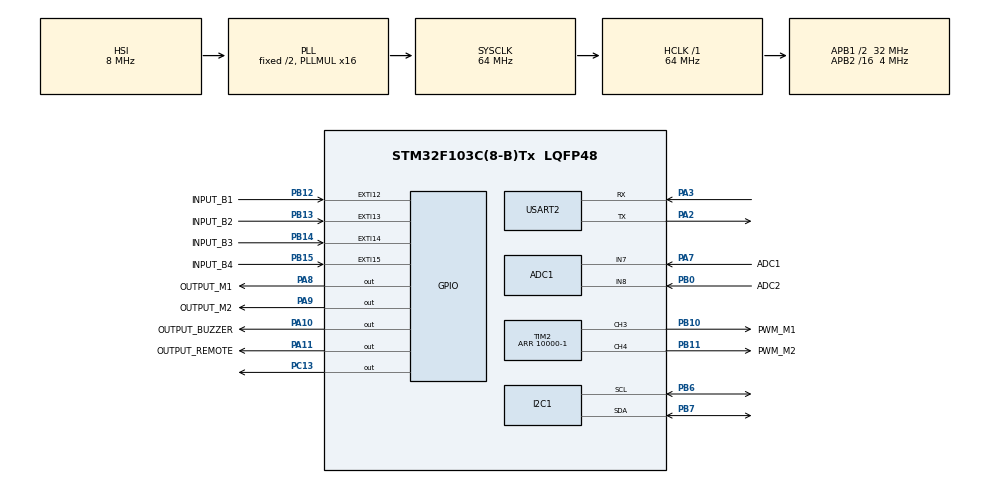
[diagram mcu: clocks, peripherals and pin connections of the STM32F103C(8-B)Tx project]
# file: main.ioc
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ADC1.Channel-0\#ChannelRegularConversion=ADC_CHANNEL_8
ADC1.Channel-1\#ChannelRegularConversion=ADC_CHANNEL_7
ADC1.ContinuousConvMode=ENABLE
ADC1.DataAlign=ADC_DATAALIGN_RIGHT
ADC1.ExternalTrigConv=ADC_SOFTWARE_START
ADC1.NbrOfConversion=2
ADC1.NbrOfConversionFlag=1
ADC1.Rank-0\#ChannelRegularConversion=1
ADC1.Rank-1\#ChannelRegularConversion=2
ADC1.SamplingTime-0\#ChannelRegularConversion=ADC_SAMPLETIME_1CYCLE_5
ADC1.SamplingTime-1\#ChannelRegularConversion=ADC_SAMPLETIME_1CYCLE_5
ADC1.master=1
Dma.ADC1.0.Direction=DMA_PERIPH_TO_MEMORY
Dma.ADC1.0.Instance=DMA1_Channel1
Dma.ADC1.0.MemDataAlignment=DMA_MDATAALIGN_WORD
Dma.ADC1.0.MemInc=DMA_MINC_ENABLE
Dma.ADC1.0.Mode=DMA_CIRCULAR
Dma.ADC1.0.PeriphDataAlignment=DMA_PDATAALIGN_WORD
Dma.ADC1.0.PeriphInc=DMA_PINC_DISABLE
Dma.ADC1.0.Priority=DMA_PRIORITY_LOW
Dma.Request0=ADC1
I2C1.I2C_Mode=I2C_Standard
Mcu.Family=STM32F1
Mcu.Name=STM32F103C(8-B)Tx
Mcu.Package=LQFP48
NVIC.DMA1_Channel1_IRQn=true\:0\:0\:false\:false\:true\:false\:true
NVIC.EXTI15_10_IRQn=true\:0\:0\:false\:false\:true\:true\:true
NVIC.PriorityGroup=NVIC_PRIORITYGROUP_4
NVIC.USART2_IRQn=true\:0\:0\:false\:false\:true\:true\:true
PA10.GPIO_Label=OUTPUT_BUZZER
PA10.Signal=GPIO_Output
PA11.GPIO_Label=OUTPUT_REMOTE
PA11.Signal=GPIO_Output
PA13.Mode=Serial_Wire
PA13.Signal=SYS_JTMS-SWDIO
PA14.Mode=Serial_Wire
PA14.Signal=SYS_JTCK-SWCLK
PA2.Mode=Asynchronous
PA2.Signal=USART2_TX
PA3.Mode=Asynchronous
PA3.Signal=USART2_RX
PA7.GPIO_Label=ADC1
PA7.Signal=ADCx_IN7
PA8.GPIO_Label=OUTPUT_M1
PA8.GPIO_ModeDefaultOutputPP=GPIO_MODE_OUTPUT_PP
PA8.Signal=GPIO_Output
PA9.GPIO_Label=OUTPUT_M2
PA9.GPIO_ModeDefaultOutputPP=GPIO_MODE_OUTPUT_PP
PA9.Signal=GPIO_Output
PB0.GPIO_Label=ADC2
PB0.Signal=ADCx_IN8
PB10.GPIO_Label=PWM_M1
PB10.Signal=S_TIM2_CH3
PB11.GPIO_Label=PWM_M2
PB11.Signal=S_TIM2_CH4
PB12.GPIO_Label=INPUT_B1
PB12.GPIO_ModeDefaultEXTI=GPIO_MODE_IT_RISING
PB12.GPIO_PuPd=GPIO_PULLDOWN
PB12.Signal=GPXTI12
PB13.GPIO_Label=INPUT_B2
PB13.GPIO_ModeDefaultEXTI=GPIO_MODE_IT_RISING
PB13.GPIO_PuPd=GPIO_PULLDOWN
PB13.Signal=GPXTI13
PB14.GPIO_Label=INPUT_B3
PB14.GPIO_ModeDefaultEXTI=GPIO_MODE_IT_RISING
PB14.GPIO_PuPd=GPIO_PULLDOWN
PB14.Signal=GPXTI14
PB15.GPIO_Label=INPUT_B4
PB15.GPIO_ModeDefaultEXTI=GPIO_MODE_IT_RISING
PB15.GPIO_PuPd=GPIO_PULLDOWN
PB15.Signal=GPXTI15
PB6.Mode=I2C
PB6.Signal=I2C1_SCL
PB7.Mode=I2C
PB7.Signal=I2C1_SDA
PC13-TAMPER-RTC.Signal=GPIO_Output
ProjectManager.HeapSize=0x200
ProjectManager.StackSize=0x400
ProjectManager.TargetToolchain=STM32CubeIDE
RCC.ADCPresc=RCC_ADCPCLK2_DIV8
RCC.AHBFreq_Value=64000000
RCC.APB1CLKDivider=RCC_HCLK_DIV2
RCC.APB1Freq_Value=32000000
RCC.APB1TimFreq_Value=64000000
RCC.APB2CLKDivider=RCC_HCLK_DIV16
RCC.APB2Freq_Value=4000000
RCC.APB2TimFreq_Value=8000000
RCC.HCLKFreq_Value=64000000
RCC.PLLMUL=RCC_PLL_MUL16
RCC.SYSCLKFreq_VALUE=64000000
RCC.SYSCLKSource=RCC_SYSCLKSOURCE_PLLCLK
RCC.USBFreq_Value=64000000
RTC.OutPut=RTC_OUTPUTSOURCE_CALIBCLOCK
SH.ADCx_IN7.0=ADC1_IN7,IN7
SH.ADCx_IN8.0=ADC1_IN8,IN8
SH.S_TIM2_CH3.0=TIM2_CH3,PWM Generation3 CH3
SH.S_TIM2_CH4.0=TIM2_CH4,PWM Generation4 CH4
TIM2.Channel-PWM\ Generation3\ CH3=TIM_CHANNEL_3
TIM2.Channel-PWM\ Generation4\ CH4=TIM_CHANNEL_4
TIM2.Period=10000-1
USART2.VirtualMode=VM_ASYNC
VP_RTC_VS_RTC_Activate.Mode=RTC_Enabled
VP_RTC_VS_RTC_Calendar.Mode=RTC_Calendar
board=main

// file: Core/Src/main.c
/**
 ******************************************************************************
 * File Name          : main.c
 * Description        : Main program body
 ******************************************************************************
 ** This notice applies to any and all portions of this file
 * that are not between comment pairs USER CODE BEGIN and
 * USER CODE END. Other portions of this file, whether
 * inserted by the user or by software development tools
 * are owned by their respective copyright owners.
 *
 * COPYRIGHT(c) 2020 STMicroelectronics
 *
 * Redistribution and use in source and binary forms, with or without modification,
 * are permitted provided that the following conditions are met:
 *   1. Redistributions of source code must retain the above copyright notice,
 *      this list of conditions and the following disclaimer.
 *   2. Redistributions in binary form must reproduce the above copyright notice,
 *      this list of conditions and the following disclaimer in the documentation
 *      and/or other materials provided with the distribution.
 *   3. Neither the name of STMicroelectronics nor the names of its contributors
 *      may be used to endorse or promote products derived from this software
 *      without specific prior written permission.
 *
 * THIS SOFTWARE IS PROVIDED BY THE COPYRIGHT HOLDERS AND CONTRIBUTORS "AS IS"
 * AND ANY EXPRESS OR IMPLIED WARRANTIES, INCLUDING, BUT NOT LIMITED TO, THE
 * IMPLIED WARRANTIES OF MERCHANTABILITY AND FITNESS FOR A PARTICULAR PURPOSE ARE
 * DISCLAIMED. IN NO EVENT SHALL THE COPYRIGHT HOLDER OR CONTRIBUTORS BE LIABLE
 * FOR ANY DIRECT, INDIRECT, INCIDENTAL, SPECIAL, EXEMPLARY, OR CONSEQUENTIAL
 * DAMAGES (INCLUDING, BUT NOT LIMITED TO, PROCUREMENT OF SUBSTITUTE GOODS OR
 * SERVICES; LOSS OF USE, DATA, OR PROFITS; OR BUSINESS INTERRUPTION) HOWEVER
 * CAUSED AND ON ANY THEORY OF LIABILITY, WHETHER IN CONTRACT, STRICT LIABILITY,
 * OR TORT (INCLUDING NEGLIGENCE OR OTHERWISE) ARISING IN ANY WAY OUT OF THE USE
 * OF THIS SOFTWARE, EVEN IF ADVISED OF THE POSSIBILITY OF SUCH DAMAGE.
 *
 ******************************************************************************
 */

#include "main.h"
#include "stm32f1xx_hal.h"
#include "adc.h"
#include "dma.h"
#include "i2c.h"
#include "rtc.h"
#include "tim.h"
#include "usart.h"
#include "gpio.h"

/* USER CODE BEGIN Includes */
#include "./ssd1306/ssd1306.h"
#include "stdio.h"
#include <string.h>
#include <stdio.h>

#include "./ssd1306/ssd1306_tests.h"

#include "./FLASH_PAGE/FLASH_PAGE.h"
/* USER CODE END Includes */

/* USER CODE BEGIN PV */
/* Private variables ---------------------------------------------------------*/

uint32_t runtime = 6000;
uint32_t sensitivity = 50;

//uint32_t timecount=0;
uint32_t stage = 0;
uint32_t last_stage = 0;
uint32_t start = 0;
uint32_t end = 0;

int settingMode = 0;
int pressTimer = 0;
int nowPosition = 0;
int stayPositionUp = 0;
int stayPositionDown = 20;
int slowValue = 5;
int sensitivityValue = 50;

int i;
uint32_t ADC_Value[100];
int maxLoadCount = 0;
uint32_t ad1, ad2;
uint32_t real_adc1, real_adc2;
uint32_t keep_adc1, keep_adc2;
uint32_t maxLoad = 0;
uint32_t PWM1 = 0, PWM2 = 0;
uint32_t OUTPUT_1_State = 0, OUTPUT_2_State = 0;
uint32_t sysinfo_State = 0, button_State = 0;
uint32_t dir_flag = 0;
uint32_t setDir_flag = 0;

int button_flag[5] = { 0 };

char buff[64];

int i2c_working = 1;

uint32_t *data = (uint32_t*) "Hello World";
uint32_t Rx_Data[4];
char string[30];
char tempString[30];
/* USER CODE END PV */

void SystemClock_Config(void);

/* USER CODE BEGIN PFP */
/* Private function prototypes -----------------------------------------------*/

/* USER CODE END PFP */

/* USER CODE BEGIN 0 */
void motor_stop(int dir) {
	if (dir >= 1) {
		OUTPUT_1_State = 1;
		OUTPUT_2_State = 1;
		PWM1 = 0;
		PWM2 = 0;
		HAL_GPIO_WritePin(OUTPUT_M1_GPIO_Port, OUTPUT_M1_Pin, 1);
		HAL_GPIO_WritePin(OUTPUT_M2_GPIO_Port, OUTPUT_M2_Pin, 1);
		user_pwm_setvalue_1(0);
		user_pwm_setvalue_2(0);

	} else if (dir <= -1) {
		OUTPUT_1_State = 0;
		OUTPUT_2_State = 0;
		PWM1 = 4000;
		PWM2 = 4000;
		HAL_GPIO_WritePin(OUTPUT_M1_GPIO_Port, OUTPUT_M1_Pin, 0);
		HAL_GPIO_WritePin(OUTPUT_M2_GPIO_Port, OUTPUT_M2_Pin, 0);
		user_pwm_setvalue_1(4000);
		user_pwm_setvalue_2(4000);
	}
	HAL_Delay(100);
	motor_control(0, 0);
}
void motor_control(int dir, int pwm) {
	if (setDir_flag >= 1) {
		if (dir >= 1) {
			OUTPUT_1_State = 1;
			OUTPUT_2_State = 0;
			HAL_GPIO_WritePin(OUTPUT_M1_GPIO_Port, OUTPUT_M1_Pin, 1);
			HAL_GPIO_WritePin(OUTPUT_M2_GPIO_Port, OUTPUT_M2_Pin, 0);
			PWM1 = pwm;
			PWM2 = 0;
			user_pwm_setvalue_1(pwm);
			user_pwm_setvalue_2(0);

		} else if (dir <= -1) {
			OUTPUT_1_State = 0;
			OUTPUT_2_State = 1;
			HAL_GPIO_WritePin(OUTPUT_M1_GPIO_Port, OUTPUT_M1_Pin, 0);
			HAL_GPIO_WritePin(OUTPUT_M2_GPIO_Port, OUTPUT_M2_Pin, 1);
			PWM1 = 0;
			PWM2 = pwm;
			user_pwm_setvalue_1(0);
			user_pwm_setvalue_2(pwm);
		} else if (dir == 0) {
			OUTPUT_1_State = 0;
			OUTPUT_2_State = 0;
			PWM1 = 0;
			PWM2 = 0;
			HAL_GPIO_WritePin(OUTPUT_M1_GPIO_Port, OUTPUT_M1_Pin, 0);
			HAL_GPIO_WritePin(OUTPUT_M2_GPIO_Port, OUTPUT_M2_Pin, 0);
			user_pwm_setvalue_1(0);
			user_pwm_setvalue_2(0);
		}
	} else {
		if (dir <= -1) {
			OUTPUT_1_State = 1;
			OUTPUT_2_State = 0;
			HAL_GPIO_WritePin(OUTPUT_M1_GPIO_Port, OUTPUT_M1_Pin, 1);
			HAL_GPIO_WritePin(OUTPUT_M2_GPIO_Port, OUTPUT_M2_Pin, 0);
			PWM1 = pwm;
			PWM2 = 0;
			user_pwm_setvalue_1(pwm);
			user_pwm_setvalue_2(0);

		} else if (dir >= 1) {
			OUTPUT_1_State = 0;
			OUTPUT_2_State = 1;
			HAL_GPIO_WritePin(OUTPUT_M1_GPIO_Port, OUTPUT_M1_Pin, 0);
			HAL_GPIO_WritePin(OUTPUT_M2_GPIO_Port, OUTPUT_M2_Pin, 1);
			PWM1 = 0;
			PWM2 = pwm;
			user_pwm_setvalue_1(0);
			user_pwm_setvalue_2(pwm);
		} else if (dir == 0) {
			OUTPUT_1_State = 0;
			OUTPUT_2_State = 0;
			PWM1 = 0;
			PWM2 = 0;
			HAL_GPIO_WritePin(OUTPUT_M1_GPIO_Port, OUTPUT_M1_Pin, 0);
			HAL_GPIO_WritePin(OUTPUT_M2_GPIO_Port, OUTPUT_M2_Pin, 0);
			user_pwm_setvalue_1(0);
			user_pwm_setvalue_2(0);
		}
	}
}

void WriteSet(int dataInt1, int dataInt2, int dataInt3, int dataInt4,
		int dataInt5, int dataInt6) {
	//sprintf(*tempString,"%s%s%s%s%s",dataInt1,dataInt2,dataInt3,dataInt4,dataInt5);
	sprintf(tempString, "%4d%4d%4d%4d%4d%4d", dataInt1, dataInt2, dataInt3,
			dataInt4, dataInt5, dataInt6);
	Flash_Write_Data(0x0801FBF8, tempString);
}
void KeepSet() {
	WriteSet(nowPosition, stayPositionUp, stayPositionDown, sensitivity,
			slowValue, setDir_flag);
}
void ReadSet() {
	Flash_Read_Data(0x0801FBF8, Rx_Data);
	Convert_To_Str(Rx_Data, string);
	int xx[6] = { 0 };
	int xflag = 0;
	for (int x = 0; x < 23; x = x + 4) {
		char temp[5];
		temp[0] = string[x];
		temp[1] = string[x + 1];
		temp[2] = string[x + 2];
		temp[3] = string[x + 3];
		temp[4] = '\0';

		xx[xflag++] = atoi(temp);
		HAL_Delay(1);
	}
	nowPosition = xx[0];
	stayPositionUp = xx[1];
	stayPositionDown = xx[2];
	sensitivity = xx[3];
	slowValue = xx[4];
	setDir_flag = xx[5];
	//Convert_To_Str(Rx_Data, string);
}

void motor_point(int time) {
	HAL_GPIO_WritePin(OUTPUT_M1_GPIO_Port, OUTPUT_M1_Pin, 0);
	HAL_GPIO_WritePin(OUTPUT_M2_GPIO_Port, OUTPUT_M2_Pin, 1);
	PWM1 = 0;
	PWM2 = 4000;
	user_pwm_setvalue_1(PWM1);
	user_pwm_setvalue_2(PWM2);
	HAL_Delay(time);
	HAL_GPIO_WritePin(OUTPUT_M1_GPIO_Port, OUTPUT_M1_Pin, 1);
	HAL_GPIO_WritePin(OUTPUT_M2_GPIO_Port, OUTPUT_M2_Pin, 0);
	PWM1 = 4000;
	PWM2 = 0;
	user_pwm_setvalue_1(PWM1);
	user_pwm_setvalue_2(PWM2);
	HAL_Delay(time);
	HAL_GPIO_WritePin(OUTPUT_M1_GPIO_Port, OUTPUT_M1_Pin, 0);
	HAL_GPIO_WritePin(OUTPUT_M2_GPIO_Port, OUTPUT_M2_Pin, 0);
	PWM1 = 0;
	PWM2 = 0;
	user_pwm_setvalue_1(PWM1);
	user_pwm_setvalue_2(PWM2);
}
void timerControl() {
	if (start < end) {	//時間未結束
		if (dir_flag == 1) {
			if (start < end - 4000) {
				stage = 1;
				if (stage != last_stage) {
					last_stage = stage;
					detection_load(0, sensitivity);
				}
				if (detection_load(1, sensitivity)) {
					sysinfo_State = 1;
				}
				motor_control(1, 1000);
			} else if (start < end - 2000) {
				stage = 2;
				if (stage != last_stage) {
					last_stage = stage;
					detection_load(0, sensitivity);
				}
				if (detection_load(1, sensitivity)) {
					sysinfo_State = 1;
				}
				motor_control(1, 4000);
			} else if (start < end) {
				stage = 3;
				if (stage != last_stage) {
					last_stage = stage;
					detection_load(0, sensitivity);
				}
				if (detection_load(1, sensitivity)) {
					sysinfo_State = 1;
				}
				motor_control(1, 1000);
			}
		} else if (dir_flag == 4) {
			if (start < end - 4000) {
				stage = 1;
				if (stage != last_stage) {
					last_stage = stage;
					detection_load(0, sensitivity);
				}
				if (detection_load(1, sensitivity)) {
					sysinfo_State = 1;
				}
				motor_control(-1, 1000);
			} else if (start < end - 2000) {
				stage = 2;
				if (stage != last_stage) {
					last_stage = stage;
					detection_load(0, sensitivity);
				}
				if (detection_load(1, sensitivity)) {
					sysinfo_State = 1;
				}
				motor_control(-1, 4000);
			} else if (start < end) {
				stage = 3;
				if (stage != last_stage) {
					last_stage = stage;
					detection_load(0, sensitivity);
				}
				if (detection_load(1, sensitivity)) {
					sysinfo_State = 1;
				}
				motor_control(-1, 1000);
			}
		}
		if (sysinfo_State == 1)
			end = start;	//壓力觸發
	} else {	//運行時間結束
		stage = 0;
		sysinfo_State = 0;
		detection_load(0, 50);
		motor_control(0, 0);
	}
}
void stepControl() {
	int stopFlag = 0;
	switch (dir_flag) {
	case 1:
		if (nowPosition > stayPositionUp) {
			motor_control(1, 1500);
			for (int x = 0; x < slowValue; x++) {
				HAL_Delay(100);
				if (HAL_GPIO_ReadPin(GPIOB, GPIO_PIN_13) == GPIO_PIN_SET
						|| detection_load(1, sensitivity)) {
					dir_flag = 0;
					stopFlag = 1;
					break;
				}
			}

		}
		while (nowPosition > stayPositionUp) {
			if (stopFlag == 1)
				break;
			motor_control(1, 4000);
			HAL_Delay(20);
			//read_ADC();
			detection_load(0, sensitivity);
			nowPosition--;
			for (int timer = 0; timer < 5; timer++) {
				HAL_Delay(1);
				Display(settingMode);
				if (HAL_GPIO_ReadPin(GPIOB, GPIO_PIN_13) == GPIO_PIN_SET
						|| detection_load(1, sensitivity)) {
					dir_flag = 0;
					stopFlag = 1;
					break;
				}
			}
			if (HAL_GPIO_ReadPin(GPIOB, GPIO_PIN_13) == GPIO_PIN_SET
					|| detection_load(1, sensitivity)) {
				dir_flag = 0;
				stopFlag = 1;
				break;
			}
		}
		motor_stop(1);
		dir_flag = 0;
		break;
	case 4:
		if (nowPosition < stayPositionDown) {
			motor_control(-1, 1500);
			for (int x = 0; x < slowValue; x++) {
				HAL_Delay(100);
				if (HAL_GPIO_ReadPin(GPIOB, GPIO_PIN_13) == GPIO_PIN_SET
						|| detection_load(1, sensitivity)) {
					dir_flag = 0;
					stopFlag = 1;
					break;
				}
			}
		}
		while (nowPosition < stayPositionDown) {
			if (stopFlag == 1)
				break;
			motor_control(-1, 4000);
			HAL_Delay(20);
			//read_ADC();
			detection_load(0, sensitivity);
			nowPosition++;
			for (int timer = 0; timer < 5; timer++) {
				HAL_Delay(1);
				Display(settingMode);
				if (HAL_GPIO_ReadPin(GPIOB, GPIO_PIN_13) == GPIO_PIN_SET
						|| detection_load(1, sensitivity)) {
					dir_flag = 0;
					stopFlag = 1;
					break;
				}
			}
			if (HAL_GPIO_ReadPin(GPIOB, GPIO_PIN_13) == GPIO_PIN_SET
					|| detection_load(1, sensitivity)) {
				dir_flag = 0;
				stopFlag = 1;
				break;
			}
		}
		motor_stop(-1);
		dir_flag = 0;
		break;
	default:
		//motor_control(0, 0);
		break;
	}
}
void buzzerTimes(int times) {
	for (int x = 0; x < times; x++) {
		HAL_GPIO_WritePin(GPIOA, OUTPUT_BUZZER_Pin, 1);
		HAL_Delay(100);
		HAL_GPIO_WritePin(GPIOA, OUTPUT_BUZZER_Pin, 0);
		HAL_Delay(100);
	}

}
void clean_button_flag(void) {
	//Usart2DmaPrintf("clena\n");
	for (i = 0; i <= 5; i++) { //clean flag
		button_flag[i] = 0;
		//HAL_Delay(1);
	}
}
int read_ADC() {
	int times = 50; //採樣次數
	for (i = 0, ad1 = 0, ad2 = 0; i < times;) {
		ad1 += ADC_Value[i++];
		ad2 += ADC_Value[i++];
		//HAL_Delay(1);
	}

	real_adc1 = ad1 / (times / 2);
	real_adc2 = ad2 / (times / 2);
	//sensitivity = real_adc2;
	if (real_adc1 <= real_adc2) {
		return 1;
	} else {
		return 0;
	}
}
//檢知附載
//int time =0 ;為第一次設置
int detection_load(int times, uint32_t th) {
	read_ADC();
	int setCount = 3;
	if (times == 0) {
		//keep_adc1 = real_adc1;
		maxLoad = 0;
		maxLoadCount = 0;
	} else {
		maxLoadCount++;
		if (maxLoadCount < setCount) {
			if (real_adc1 > maxLoad) {
				maxLoad = real_adc1 + th;
			}
		} else {
			if (real_adc1 > (maxLoad)) {
				//maxLoad = real_adc1;
				return 1;
			}
		}
	}
	return 0;
}

void Display(int mode) {
	ssd1306_Fill(Black);
	ssd1306_SetCursor(2, 0);
	int line_count = 1;
	if (mode == 0) {
		//snprintf(buff, sizeof(buff), "%s,", string);
		//ssd1306_WriteString(buff, Font_6x8, White);

		snprintf(buff, sizeof(buff), "%s,%s", __DATE__, __TIME__);
		ssd1306_WriteString(buff, Font_6x8, White);

		ssd1306_SetCursor(2, 8 * line_count++);
		snprintf(buff, sizeof(buff), "state:%d,%d nowP:%d", sysinfo_State,
				stage, nowPosition);
		ssd1306_WriteString(buff, Font_6x8, White);

		snprintf(buff, sizeof(buff), "[B0]:%d,Sent:%d", real_adc1, sensitivity);
		ssd1306_SetCursor(2, 8 * line_count++);
		ssd1306_WriteString(buff, Font_6x8, White);

		snprintf(buff, sizeof(buff), "mLoad:%d count:%d", maxLoad,
				maxLoadCount);
		ssd1306_SetCursor(2, 8 * line_count++);
		ssd1306_WriteString(buff, Font_6x8, White);

		snprintf(buff, sizeof(buff), "PWM1:%d, GPIO1:%d", PWM1, OUTPUT_1_State);
		ssd1306_SetCursor(2, 8 * line_count++);
		ssd1306_WriteString(buff, Font_6x8, White);

		snprintf(buff, sizeof(buff), "PWM2:%d, GPIO2:%d", PWM2, OUTPUT_2_State);
		ssd1306_SetCursor(2, 8 * line_count++);
		ssd1306_WriteString(buff, Font_6x8, White);

		snprintf(buff, sizeof(buff), "button[%d]:%d,%d,%d,%d", button_State,
				button_flag[1], button_flag[2], button_flag[3], button_flag[4]);
		ssd1306_SetCursor(2, 8 * line_count++);
		ssd1306_WriteString(buff, Font_6x8, White);

		//snprintf(buff, sizeof(buff), "time:%d,%d", end, start);
		//ssd1306_SetCursor(2, 8*7);
		//ssd1306_WriteString(buff, Font_6x8, White);
		if (end > start) {
			snprintf(buff, sizeof(buff), "time:%d", end - start);
			ssd1306_SetCursor(2, 8 * 7);
			ssd1306_WriteString(buff, Font_6x8, White);
		}
	} else if (mode == 1) {		//setting mode
		snprintf(buff, sizeof(buff), "Setting mode:%d", settingMode);
		ssd1306_WriteString(buff, Font_6x8, White);

		ssd1306_SetCursor(2, 8 * line_count++);
		snprintf(buff, sizeof(buff), "button[%d]:%d,%d,%d,%d", button_State,
				button_flag[1], button_flag[2], button_flag[3], button_flag[4]);
		ssd1306_WriteString(buff, Font_6x8, White);
		/*
		 snprintf(buff, sizeof(buff), "[B0]:%d,KA1:%d", real_adc1, keep_adc1);
		 ssd1306_SetCursor(2, 8 * line_count++);
		 ssd1306_WriteString(buff, Font_6x8, White);
		 */
		snprintf(buff, sizeof(buff), "now:%d,up:%d,down:%d", nowPosition,
				stayPositionUp, stayPositionDown);
		ssd1306_SetCursor(2, 8 * line_count++);
		ssd1306_WriteString(buff, Font_6x8, White);

		snprintf(buff, sizeof(buff), "LongPress:%d", pressTimer);
		ssd1306_SetCursor(2, 8 * line_count++);
		ssd1306_WriteString(buff, Font_6x8, White);

		snprintf(buff, sizeof(buff), "DIR:%d,nowP:%d", setDir_flag,
				nowPosition);
		ssd1306_SetCursor(2, 8 * line_count++);
		ssd1306_WriteString(buff, Font_6x8, White);

		snprintf(buff, sizeof(buff), "PWM1:%d, GPIO1:%d", PWM1, OUTPUT_1_State);
		ssd1306_SetCursor(2, 8 * line_count++);
		ssd1306_WriteString(buff, Font_6x8, White);

		snprintf(buff, sizeof(buff), "PWM2:%d, GPIO2:%d", PWM2, OUTPUT_2_State);
		ssd1306_SetCursor(2, 8 * line_count++);
		ssd1306_WriteString(buff, Font_6x8, White);

		if (end > start) {
			snprintf(buff, sizeof(buff), "time:%d", end - start);
			ssd1306_SetCursor(2, 8 * 7);
			ssd1306_WriteString(buff, Font_6x8, White);
		}

	} else if (mode == 2) {		//setting mode
		snprintf(buff, sizeof(buff), "s_Value:%d", sensitivityValue);
		ssd1306_SetCursor(2, 8 * line_count++);
		ssd1306_WriteString(buff, Font_6x8, White);

	} else if (mode == 3) {		//setting mode
		snprintf(buff, sizeof(buff), "slowValue:%dms", slowValue * 100);
		ssd1306_SetCursor(2, 8 * line_count++);
		ssd1306_WriteString(buff, Font_6x8, White);

	}
	ssd1306_UpdateScreen();

}
void u32tostr(unsigned long dat, char *str) {
	char temp[20];
	unsigned char i = 0, j = 0;
	i = 0;
	while (dat) {
		temp[i] = dat % 10 + 0x30;
		i++;
		dat /= 10;
	}
	j = i;
	for (i = 0; i < j; i++) {
		str[i] = temp[j - i - 1];
	}
	if (!i) {
		str[i++] = '0';
	}
	str[i] = 0;
}
int read_GPIO(int th) {
	int state = 0;
	if (HAL_GPIO_ReadPin(GPIOB, GPIO_PIN_12) == GPIO_PIN_SET) {
		button_flag[1]++;
		//Flash_Write_Data(0x0801FBF8 , "A");
	}
	if (HAL_GPIO_ReadPin(GPIOB, GPIO_PIN_13) == GPIO_PIN_SET) {
		button_flag[2]++;
	}
	if (HAL_GPIO_ReadPin(GPIOB, GPIO_PIN_14) == GPIO_PIN_SET) {
		button_flag[3]++;
	}
	if (HAL_GPIO_ReadPin(GPIOB, GPIO_PIN_15) == GPIO_PIN_SET) {
		button_flag[4]++;
		//Flash_Write_Data(0x0801FBF8 , "D");
	}

	if (button_flag[1] >= th)
		state = 1;
	if (button_flag[2] >= th)
		state = state + 2;
	if (button_flag[3] >= th)
		state = state + 4;
	if (button_flag[4] >= th)
		state = state + 8;
	if (state == 0)
		clean_button_flag();
	return state;
}
int check_buttom() {
	//讀取案就狀態

	button_State = read_GPIO(1);
	int exitSetTime = 8000;

	if (settingMode == 0) {
		if (button_State == 1) {
			//正轉
			end = start + runtime;
			dir_flag = 1;
		} else if (button_State == 4) {
			//反轉
			end = start + runtime;
			dir_flag = 4;
		} else if (button_State == 2) {
			//停止
			end = start;
			motor_control(0, 0);
		} else if (button_State == 5) {
			//尚未定義 強制停止
			end = start;
			motor_control(0, 0);
		} else if (button_State == 8) {
			//進入設定模式
			motor_control(0, 0);
			end = start + exitSetTime;
			//motor_point(100);
			settingMode = 1;
			buzzerTimes(3);
		}
	} else {

		if (button_State > 0) {
			end = start + exitSetTime;
		}
		if (button_State == 1) {//shrot press is move ,long press into set adc-power.
			while (HAL_GPIO_ReadPin(GPIOB, GPIO_PIN_12) == GPIO_PIN_SET) {
				pressTimer++;
				Display(settingMode);
			}
			//pressTimer++;
			if (pressTimer > 8) {
				pressTimer = 0;
				settingMode = 2;
				while (settingMode == 2) {
					Display(settingMode);
					if (HAL_GPIO_ReadPin(GPIOB, GPIO_PIN_12) == GPIO_PIN_SET) {
						if (sensitivityValue <= 1000) {
							sensitivityValue += 20;
						} else {
							sensitivityValue = 1000;
						}
					}
					if (HAL_GPIO_ReadPin(GPIOB, GPIO_PIN_13) == GPIO_PIN_SET) {
						settingMode = 1;
						sensitivity = sensitivityValue;
						buzzerTimes(3);
						KeepSet();
					}
					if (HAL_GPIO_ReadPin(GPIOB, GPIO_PIN_14) == GPIO_PIN_SET) {
						if (sensitivityValue >= 20) {
							sensitivityValue -= 20;
						} else {
							sensitivityValue = 0;
						}
					}
					if (HAL_GPIO_ReadPin(GPIOB, GPIO_PIN_15) == GPIO_PIN_SET) {
						settingMode = 1;
					}
					HAL_Delay(250);
				}
			} else {
				motor_control(1, 4000);
				HAL_Delay(500);
				motor_control(0, 0);
				if (setDir_flag == 1) {
					if (nowPosition >= 1000) {
						nowPosition = 1000;
					} else {
						nowPosition++;
					}
				} else {
					if (nowPosition < 1) {
						nowPosition = 0;
					} else {
						nowPosition--;
					}
				}
			}

		} else if (button_State == 4) {	//shrot press is move ,long press into set slow-val.
			while (HAL_GPIO_ReadPin(GPIOB, GPIO_PIN_14) == GPIO_PIN_SET) {
				pressTimer++;
				Display(settingMode);
			}
			//pressTimer++;
			if (pressTimer > 8) {
				pressTimer = 0;
				settingMode = 3;
				while (settingMode == 3) {
					Display(settingMode);
					if (HAL_GPIO_ReadPin(GPIOB, GPIO_PIN_12) == GPIO_PIN_SET) {
						if (slowValue <= 100) {
							slowValue += 1;
						} else {
							slowValue = 100;
						}
					}
					if (HAL_GPIO_ReadPin(GPIOB, GPIO_PIN_13) == GPIO_PIN_SET) {
						settingMode = 1;
						buzzerTimes(3);
						KeepSet();
					}
					if (HAL_GPIO_ReadPin(GPIOB, GPIO_PIN_14) == GPIO_PIN_SET) {
						if (slowValue >= 1) {
							slowValue -= 1;
						} else {
							slowValue = 0;
						}
					}
					if (HAL_GPIO_ReadPin(GPIOB, GPIO_PIN_15) == GPIO_PIN_SET) {
						settingMode = 1;
					}
					HAL_Delay(250);
				}
			} else {
				motor_control(-1, 4000);
				HAL_Delay(500);
				motor_control(0, 0);
				if (setDir_flag == 0) {
					if (nowPosition >= 1000) {
						nowPosition = 1000;
					} else {
						nowPosition++;
					}
				} else {
					if (nowPosition < 1) {
						nowPosition = 0;
					} else {
						nowPosition--;
					}
				}
			}
		} else if (button_State == 2) {		//set favorite-point

		} else if (button_State == 5) {		//change motor dir
			ReadSet();
			buzzerTimes(3);
			settingMode = 1;
			if (setDir_flag == 1) {
				setDir_flag = 0;
			} else {
				setDir_flag = 1;
			}
			KeepSet();
			HAL_Delay(500);

		} else if (button_State == 3) {		//set up-point
			settingMode = 1;
			stayPositionUp = nowPosition;
			buzzerTimes(3);
			KeepSet();
		} else if (button_State == 6) {		//set donw-point
			settingMode = 1;
			stayPositionDown = nowPosition;
			buzzerTimes(3);
			KeepSet();

		} else if (button_State == 8) {
			settingMode = 1;
		} else if (button_State == 0) {
			pressTimer = 0;
		}
	}
}
void HAL_GPIO_EXTI_Callback(uint16_t GPIO_Pin) {
	/*
	 switch (GPIO_Pin) {
	 case GPIO_PIN_12: // GPIO_PIN_13 is the Blue Button
	 HAL_GPIO_TogglePin(GPIOC, GPIO_PIN_13); //PC13 Led
	 button_flag[1]++;
	 break;
	 case GPIO_PIN_13:
	 HAL_GPIO_TogglePin(GPIOC, GPIO_PIN_13); //PC13 Led
	 button_flag[2]++;
	 break;
	 case GPIO_PIN_14:
	 HAL_GPIO_TogglePin(GPIOC, GPIO_PIN_13); //PC13 Led
	 button_flag[3]++;
	 break;
	 case GPIO_PIN_15:
	 HAL_GPIO_TogglePin(GPIOC, GPIO_PIN_13); //PC13 Led
	 button_flag[4]++;
	 break;
	 }
	 */
}
/* USER CODE END 0 */

int main(void) {

	/* MCU Configuration----------------------------------------------------------*/

	/* Reset of all peripherals, Initializes the Flash interface and the Systick. */
	HAL_Init();

	/* Configure the system clock */
	SystemClock_Config();

	/* Initialize all configured peripherals */
	MX_GPIO_Init();
	MX_DMA_Init();
	MX_I2C1_Init();
	MX_ADC1_Init();
	MX_TIM2_Init();
	MX_RTC_Init();
	MX_USART2_UART_Init();

	/* USER CODE BEGIN 2 */
	//ssd1306_Reset();
	ssd1306_Init();
	HAL_ADC_Start_DMA(&hadc1, (uint32_t*) &ADC_Value, 100);
	//HAL_GPIO_WritePin(GPIOC, GPIO_PIN_13, GPIO_PIN_SET);
	motor_control(0, 0);
	//ssd1306_TestLine();
	//ssd1306_TestAll();

	//nowp,UP,Down,sensitivity,SlowTime
	//Flash_Write_Data(0x0801FBF8 , "0000,0000,0000,0000,0000");
	//Flash_Read_Data(0x0801FBF8, Rx_Data);
	/*
	 1.nowPosition
	 2.stayPositionUp
	 3.stayPositionDown
	 4.sensitivity
	 5.slowValue
	 6.dir_flag

	 */
	//WriteSet(5,1,20,100,5,1);
	ReadSet();
	buzzerTimes(1);
	/* USER CODE END 2 */

	/* Infinite loop */
	while (1) {

		/* USER CODE BEGIN 3 */
		//系統運行時間
		start = HAL_GetTick();
		if (settingMode == 0) {	//運行模式
			//timerControl();
			stepControl();
		} else {	//設定模式
			if (start < end) {	//時間未結束

			} else {
				settingMode = 0;
			}
		}
		//壓力觸動時輸出1
		//sysinfo_State = read_ADC();
		read_ADC();

		check_buttom();

		//LCD畫面
		if (i2c_working == 1)
			Display(settingMode);

		//系統LED PC13
		//HAL_GPIO_TogglePin(GPIOC, GPIO_PIN_13);

		//清除button flag
		clean_button_flag();
	}

	/* USER CODE END 3 */

}

/** System Clock Configuration
 */
void SystemClock_Config(void) {

	RCC_OscInitTypeDef RCC_OscInitStruct;
	RCC_ClkInitTypeDef RCC_ClkInitStruct;
	RCC_PeriphCLKInitTypeDef PeriphClkInit;

	/**Initializes the CPU, AHB and APB busses clocks
	 */
	RCC_OscInitStruct.OscillatorType = RCC_OSCILLATORTYPE_HSI
			| RCC_OSCILLATORTYPE_LSI;
	RCC_OscInitStruct.HSIState = RCC_HSI_ON;
	RCC_OscInitStruct.HSICalibrationValue = 16;
	RCC_OscInitStruct.LSIState = RCC_LSI_ON;
	RCC_OscInitStruct.PLL.PLLState = RCC_PLL_ON;
	RCC_OscInitStruct.PLL.PLLSource = RCC_PLLSOURCE_HSI_DIV2;
	RCC_OscInitStruct.PLL.PLLMUL = RCC_PLL_MUL16;
	if (HAL_RCC_OscConfig(&RCC_OscInitStruct) != HAL_OK) {
		_Error_Handler(__FILE__, __LINE__);
	}

	/**Initializes the CPU, AHB and APB busses clocks
	 */
	RCC_ClkInitStruct.ClockType = RCC_CLOCKTYPE_HCLK | RCC_CLOCKTYPE_SYSCLK
			| RCC_CLOCKTYPE_PCLK1 | RCC_CLOCKTYPE_PCLK2;
	RCC_ClkInitStruct.SYSCLKSource = RCC_SYSCLKSOURCE_PLLCLK;
	RCC_ClkInitStruct.AHBCLKDivider = RCC_SYSCLK_DIV1;
	RCC_ClkInitStruct.APB1CLKDivider = RCC_HCLK_DIV2;
	RCC_ClkInitStruct.APB2CLKDivider = RCC_HCLK_DIV16;

	if (HAL_RCC_ClockConfig(&RCC_ClkInitStruct, FLASH_LATENCY_2) != HAL_OK) {
		_Error_Handler(__FILE__, __LINE__);
	}

	PeriphClkInit.PeriphClockSelection = RCC_PERIPHCLK_RTC | RCC_PERIPHCLK_ADC;
	PeriphClkInit.RTCClockSelection = RCC_RTCCLKSOURCE_LSI;
	PeriphClkInit.AdcClockSelection = RCC_ADCPCLK2_DIV8;
	if (HAL_RCCEx_PeriphCLKConfig(&PeriphClkInit) != HAL_OK) {
		_Error_Handler(__FILE__, __LINE__);
	}

	/**Configure the Systick interrupt time
	 */
	HAL_SYSTICK_Config(HAL_RCC_GetHCLKFreq() / 1000);

	/**Configure the Systick
	 */
	HAL_SYSTICK_CLKSourceConfig(SYSTICK_CLKSOURCE_HCLK);

	/* SysTick_IRQn interrupt configuration */
	HAL_NVIC_SetPriority(SysTick_IRQn, 0, 0);
}

void _Error_Handler(char *file, int line) {
	while (1) {
	}
}

/************************ (C) COPYRIGHT STMicroelectronics *****END OF FILE****/
